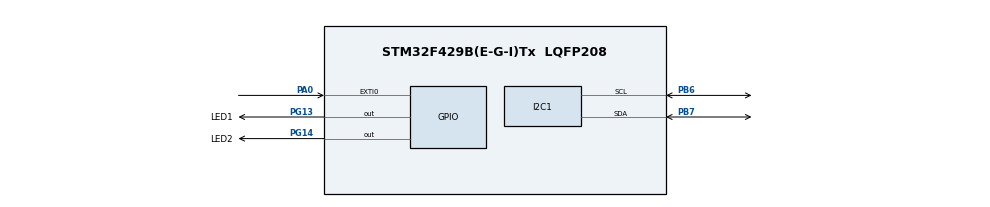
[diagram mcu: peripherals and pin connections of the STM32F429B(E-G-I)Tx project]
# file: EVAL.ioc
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FREERTOS.BinarySemaphores01=I2C_send_trigger
FREERTOS.Tasks01=I2C_led_on,2,128,I2C_led_on_callback;I2C_led_off,0,128,I2C_led_off_callback
FREERTOS.configTOTAL_HEAP_SIZE=10000
Mcu.Family=STM32F4
Mcu.Name=STM32F429B(E-G-I)Tx
Mcu.Package=LQFP208
NVIC.EXTI0_IRQn=true\:5\:0\:false
NVIC.PriorityGroup=NVIC_PRIORITYGROUP_4
PA0/WKUP.Signal=GPXTI0
PB6.Mode=I2C
PB6.Signal=I2C1_SCL
PB7.Mode=I2C
PB7.Signal=I2C1_SDA
PG13.GPIO_Label=LED1
PG13.Signal=GPIO_Output
PG14.GPIO_Label=LED2
PG14.Signal=GPIO_Output
ProjectManager.TargetToolchain=EWARM
RCC.AHBFreq_Value=16000000
RCC.APB1Freq_Value=16000000
RCC.APB2Freq_Value=16000000
RCC.CortexFreq_Value=16000000
RCC.HSE_VALUE=25000000
RCC.HSI_VALUE=16000000
RCC.LSE_VALUE=32768
RCC.SYSCLKFreq_VALUE=16000000
RCC.VCOOutputFreq_Value=192000000
VP_FREERTOS_VS_ENABLE.Mode=Enabled
board=EVAL

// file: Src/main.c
/**
  ******************************************************************************
  * File Name          : main.c
  * Description        : Main program body
  ******************************************************************************
  *
  * COPYRIGHT(c) 2015 STMicroelectronics
  *
  * Redistribution and use in source and binary forms, with or without modification,
  * are permitted provided that the following conditions are met:
  *   1. Redistributions of source code must retain the above copyright notice,
  *      this list of conditions and the following disclaimer.
  *   2. Redistributions in binary form must reproduce the above copyright notice,
  *      this list of conditions and the following disclaimer in the documentation
  *      and/or other materials provided with the distribution.
  *   3. Neither the name of STMicroelectronics nor the names of its contributors
  *      may be used to endorse or promote products derived from this software
  *      without specific prior written permission.
  *
  * THIS SOFTWARE IS PROVIDED BY THE COPYRIGHT HOLDERS AND CONTRIBUTORS "AS IS"
  * AND ANY EXPRESS OR IMPLIED WARRANTIES, INCLUDING, BUT NOT LIMITED TO, THE
  * IMPLIED WARRANTIES OF MERCHANTABILITY AND FITNESS FOR A PARTICULAR PURPOSE ARE
  * DISCLAIMED. IN NO EVENT SHALL THE COPYRIGHT HOLDER OR CONTRIBUTORS BE LIABLE
  * FOR ANY DIRECT, INDIRECT, INCIDENTAL, SPECIAL, EXEMPLARY, OR CONSEQUENTIAL
  * DAMAGES (INCLUDING, BUT NOT LIMITED TO, PROCUREMENT OF SUBSTITUTE GOODS OR
  * SERVICES; LOSS OF USE, DATA, OR PROFITS; OR BUSINESS INTERRUPTION) HOWEVER
  * CAUSED AND ON ANY THEORY OF LIABILITY, WHETHER IN CONTRACT, STRICT LIABILITY,
  * OR TORT (INCLUDING NEGLIGENCE OR OTHERWISE) ARISING IN ANY WAY OUT OF THE USE
  * OF THIS SOFTWARE, EVEN IF ADVISED OF THE POSSIBILITY OF SUCH DAMAGE.
  *
  ******************************************************************************
  */
#include "stm32f4xx_hal.h"
#include "cmsis_os.h"

I2C_HandleTypeDef hi2c1;

osThreadId I2C_led_onHandle;
osThreadId I2C_led_offHandle;
osSemaphoreId I2C_send_triggerHandle;

/* USER CODE BEGIN PV */
/* Private variables ---------------------------------------------------------*/

uint16_t led_toggler = 0;
uint8_t led_on[1] = {1};
uint8_t led_off[1] = {0};
/* USER CODE END PV */

void SystemClock_Config(void);
static void MX_GPIO_Init(void);
static void MX_I2C1_Init(void);
void I2C_led_on_callback(void const * argument);
void I2C_led_off_callback(void const * argument);

/* USER CODE BEGIN PFP */
/* Private function prototypes -----------------------------------------------*/

/* USER CODE END PFP */

int main(void)
{

  /* MCU Configuration----------------------------------------------------------*/

  /* Reset of all peripherals, Initializes the Flash interface and the Systick. */
  HAL_Init();

  /* Configure the system clock */
  SystemClock_Config();

  /* Initialize all configured peripherals */
  MX_GPIO_Init();
  MX_I2C1_Init();

  /* Create the semaphores(s) */
  /* definition and creation of I2C_send_trigger */
  osSemaphoreDef(I2C_send_trigger);
  I2C_send_triggerHandle = osSemaphoreCreate(osSemaphore(I2C_send_trigger), 1);

  /* Create the thread(s) */
  /* definition and creation of I2C_led_on */
  osThreadDef(I2C_led_on, I2C_led_on_callback, osPriorityHigh, 0, 128);
  I2C_led_onHandle = osThreadCreate(osThread(I2C_led_on), NULL);

  /* definition and creation of I2C_led_off */
  osThreadDef(I2C_led_off, I2C_led_off_callback, osPriorityNormal, 0, 128);
  I2C_led_offHandle = osThreadCreate(osThread(I2C_led_off), NULL);

  /* Start scheduler */
  osKernelStart();

  /* We should never get here as control is now taken by the scheduler */

  /* Infinite loop */
  while (1)
  {

  }

}

/** System Clock Configuration
*/
void SystemClock_Config(void)
{

  RCC_OscInitTypeDef RCC_OscInitStruct;

  __PWR_CLK_ENABLE();

  __HAL_PWR_VOLTAGESCALING_CONFIG(PWR_REGULATOR_VOLTAGE_SCALE3);

  RCC_OscInitStruct.OscillatorType = RCC_OSCILLATORTYPE_HSI;
  RCC_OscInitStruct.HSIState = RCC_HSI_ON;
  RCC_OscInitStruct.HSICalibrationValue = 16;
  RCC_OscInitStruct.PLL.PLLState = RCC_PLL_NONE;
  HAL_RCC_OscConfig(&RCC_OscInitStruct);

  HAL_SYSTICK_Config(HAL_RCC_GetHCLKFreq()/1000);

  HAL_SYSTICK_CLKSourceConfig(SYSTICK_CLKSOURCE_HCLK);

  /* SysTick_IRQn interrupt configuration */
  HAL_NVIC_SetPriority(SysTick_IRQn, 15, 0);
}

/* I2C1 init function */
void MX_I2C1_Init(void)
{

  hi2c1.Instance = I2C1;
  hi2c1.Init.ClockSpeed = 100000;
  hi2c1.Init.DutyCycle = I2C_DUTYCYCLE_2;
  hi2c1.Init.OwnAddress1 = 0;
  hi2c1.Init.AddressingMode = I2C_ADDRESSINGMODE_7BIT;
  hi2c1.Init.DualAddressMode = I2C_DUALADDRESS_DISABLED;
  hi2c1.Init.OwnAddress2 = 0;
  hi2c1.Init.GeneralCallMode = I2C_GENERALCALL_DISABLED;
  hi2c1.Init.NoStretchMode = I2C_NOSTRETCH_DISABLED;
  HAL_I2C_Init(&hi2c1);

}

/** Configure pins as
        * Analog
        * Input
        * Output
        * EVENT_OUT
        * EXTI
*/
void MX_GPIO_Init(void)
{

  GPIO_InitTypeDef GPIO_InitStruct;

  /* GPIO Ports Clock Enable */
  __GPIOA_CLK_ENABLE();
  __GPIOG_CLK_ENABLE();
  __GPIOB_CLK_ENABLE();

  /*Configure GPIO pin : PA0 */
  GPIO_InitStruct.Pin = GPIO_PIN_0;
  GPIO_InitStruct.Mode = GPIO_MODE_IT_RISING;
  GPIO_InitStruct.Pull = GPIO_NOPULL;
  HAL_GPIO_Init(GPIOA, &GPIO_InitStruct);

  /*Configure GPIO pins : LED1_Pin LED2_Pin */
  GPIO_InitStruct.Pin = LED1_Pin|LED2_Pin;
  GPIO_InitStruct.Mode = GPIO_MODE_OUTPUT_PP;
  GPIO_InitStruct.Pull = GPIO_NOPULL;
  GPIO_InitStruct.Speed = GPIO_SPEED_LOW;
  HAL_GPIO_Init(GPIOG, &GPIO_InitStruct);

  /* EXTI interrupt init*/
  HAL_NVIC_SetPriority(EXTI0_IRQn, 5, 0);
  HAL_NVIC_EnableIRQ(EXTI0_IRQn);

}

/* USER CODE BEGIN 4 */
void HAL_GPIO_EXTI_Callback(uint16_t GPIO_Pin)
{

  osSemaphoreRelease (I2C_send_triggerHandle);
  taskYIELD();
}
/* USER CODE END 4 */

/* I2C_led_on_callback function */
void I2C_led_on_callback(void const * argument)
{

  /* USER CODE BEGIN 5 */

  /* Infinite loop */
  for(;;)
  {
  if (osSemaphoreWait (I2C_send_triggerHandle, 1000) == osOK)
  {
    taskENTER_CRITICAL();
    HAL_I2C_Master_Transmit(&hi2c1, 0x2, (uint8_t*)led_on, I2C_MEMADD_SIZE_8BIT, 1000);
    osThreadSetPriority (I2C_led_offHandle,osPriorityHigh);
    osThreadSetPriority (I2C_led_onHandle, osPriorityNormal);
    osDelay(100);
    taskEXIT_CRITICAL();

  }
  }
  /* USER CODE END 5 */
}

/* I2C_led_off_callback function */
void I2C_led_off_callback(void const * argument)
{
  /* USER CODE BEGIN I2C_led_off_callback */

  /* Infinite loop */
  for(;;)
  {
  if (osSemaphoreWait (I2C_send_triggerHandle, 1000) == osOK)
  {
    taskENTER_CRITICAL();
    HAL_I2C_Master_Transmit(&hi2c1, 0x2, (uint8_t*)led_off, I2C_MEMADD_SIZE_8BIT, 1000);
    osThreadSetPriority (I2C_led_offHandle, osPriorityNormal);
    osThreadSetPriority (I2C_led_onHandle, osPriorityHigh);
    osDelay(100);
    taskEXIT_CRITICAL();
  }
  }
  /* USER CODE END I2C_led_off_callback */
}

/************************ (C) COPYRIGHT STMicroelectronics *****END OF FILE****/
